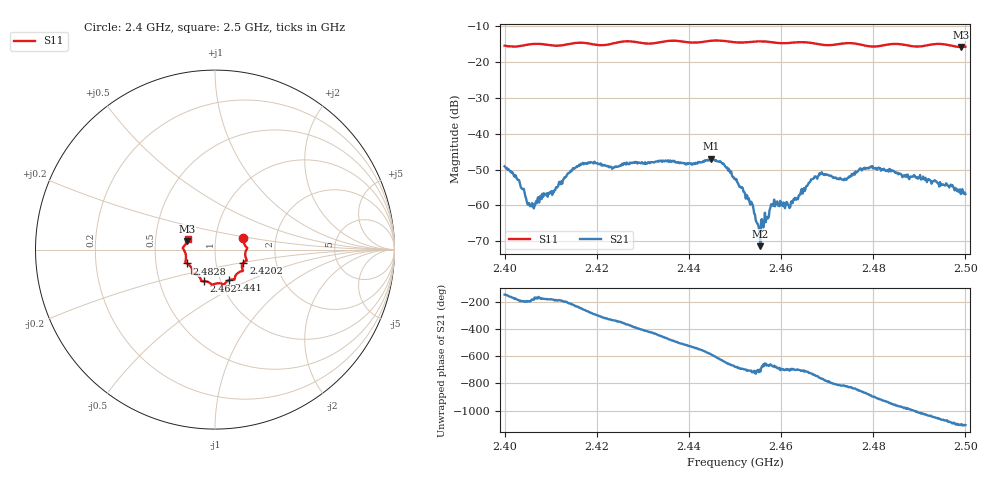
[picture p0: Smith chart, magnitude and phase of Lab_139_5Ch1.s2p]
# Hz S RI R 50
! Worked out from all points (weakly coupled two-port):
!   601 points, 2.4 GHz to 2.5 GHz, reference 50 ohm
!   highest |S21| = -46.94 dB at 2.4448 GHz (marker M1); lowest = -71.4 dB at 2.4555 GHz (marker M2)
!   lowest |S11| = -15.8 dB at 2.499 GHz (marker M3), VSWR 1.39, Z = 36.4 + j3.53 ohm
!   |S11| at or under -10 dB: start of sweep to end of sweep
!   S12 and S22 are empty: the file has one direction only
!   S11 on the Smith chart (normalised r, x): 2.4 GHz: 1.36, +0.17; 2.4202 GHz: 1.36, -0.20; 2.441 GHz: 1.10, -0.39; 2.462 GHz: 0.84, -0.30; 2.4828 GHz: 0.72, -0.11; 2.5 GHz: 0.73, +0.09
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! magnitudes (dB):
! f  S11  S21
! 2.4 GHz  -15.4  -49.1
! 2.4028 GHz  -15.6  -52.8
! 2.406 GHz  -14.9  -59.3
! 2.4167 GHz  -14.6  -48.6
! 2.4202 GHz  -15.2  -48.2
! 2.4333 GHz  -14.5  -47.5
! 2.441 GHz  -14.5  -48.5
! 2.4448 GHz  -14.0  -46.9
! 2.4473 GHz  -14.0  -48.5
! 2.45 GHz  -14.4  -52.5
! 2.4535 GHz  -14.3  -59.0
! 2.455 GHz  -14.2  -65.3
! 2.4555 GHz  -14.2  -71.4
! 2.4583 GHz  -14.5  -60.1
! 2.462 GHz  -14.6  -60.4
! 2.4667 GHz  -14.6  -52.7
! 2.4738 GHz  -14.7  -52.5
! 2.4793 GHz  -15.6  -49.3
! 2.4828 GHz  -15.1  -50.4
! 2.4833 GHz  -15.0  -50.6
! 2.499 GHz  -15.8  -56.8
! 2.5 GHz  -15.7  -56.8
